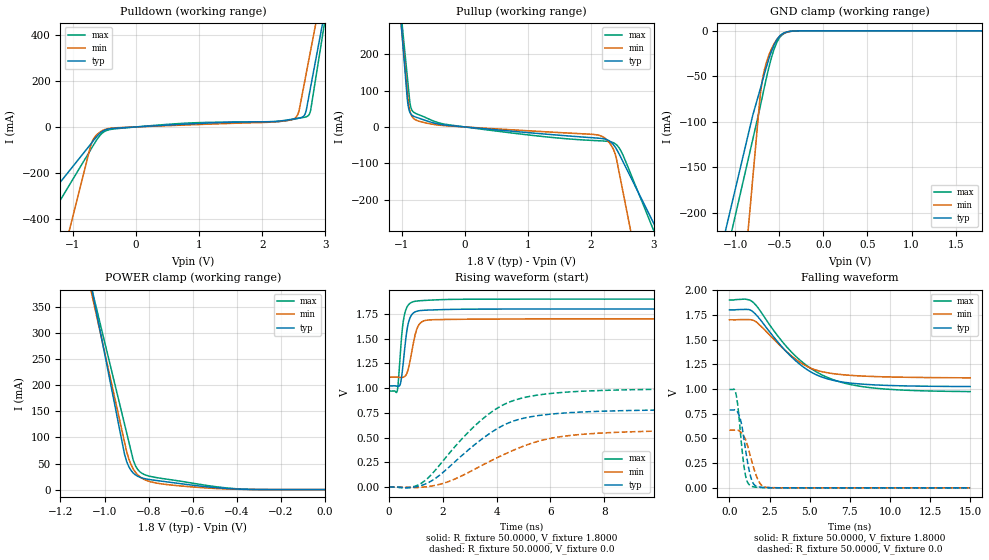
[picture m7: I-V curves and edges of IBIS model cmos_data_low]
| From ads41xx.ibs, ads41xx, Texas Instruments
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|   Model cmos_data_low
[Model]   cmos_data_low
Model_type 3-state
Polarity   Non-Inverting
Enable   Active-High
Vmeas=0.9
C_comp   2.0750pF   1.9000pF   2.2500pF
[Temperature Range]   25.0000   0.1250k   -40.0000
[Voltage Range]   1.8000V   1.7000V   1.9000V
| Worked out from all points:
|   slope of the pulldown table from 0 to 0.27 V, typ, clamps not added: 61.3 ohm
|   slope of the pullup table from 0 to 0.27 V, typ, clamps not added: 62.7 ohm
|   GND clamp passes 1 mA (typ) near -0.40 V on its own axis
|   POWER clamp passes 1 mA (typ) near -0.39 V on its own axis
|   rising waveform, R_fixture 50.0000, V_fixture 1.8000: 20-80 % time 210ps typ, 269ps min, 183ps max; typ from 1.02 V to 1.8 V
|   rising waveform, R_fixture 50.0000, V_fixture 0.0: 20-80 % time 2.24ns typ, 2.83ns min, 2.2ns max; typ from 0 V to 0.786 V
|   falling waveform, R_fixture 50.0000, V_fixture 1.8000: 20-80 % time 2.81ns typ, 2.52ns min, 3.34ns max; typ from 1.8 V to 1.02 V
|   falling waveform, R_fixture 50.0000, V_fixture 0.0: 20-80 % time 484ps typ, 639ps min, 378ps max; typ from 0.787 V to 0 V
[Pulldown]
|Voltage   I(typ)   I(min)   I(max)
-1.8V     -446.2mA   -1.258A    -592.4mA
-720mV    -75.2mA    -81.71mA   -99.24mA
-640mV    -47.05mA   -39.01mA   -62.92mA
-460mV    -10.5mA    -8.223mA   -14.9mA
710mV     11.19mA    7.69mA     15.22mA
2.48V     34.06mA    32.63mA    32.37mA
2.55V     37.27mA    46.71mA    36.28mA
2.58V     38.61mA    65.94mA    37.79mA
2.67V     51.08mA    191.5mA    42.12mA
2.72V     102.4mA    263.3mA    46.79mA
2.77V     175.5mA    335mA      73.69mA
3.6V      1.39A      1.526A     1.509A
[Pullup]
|Voltage   I(typ)   I(min)   I(max)
-1.8V     1.985A     1.8A       1.7A
-910mV    78.41mA    98.35mA    140.6mA
-890mV    53.38mA    64.8mA     105.5mA
-860mV    37.57mA    39.26mA    59.46mA
-780mV    27.41mA    19.76mA    37.54mA
-260mV    4.234mA    2.841mA    6.131mA
2.16V     -31.57mA   -24.52mA   -38.3mA
2.28V     -36.75mA   -39.86mA   -39.94mA
2.38V     -53.19mA   -69.91mA   -45.29mA
2.47V     -80.69mA   -141.1mA   -62.92mA
2.55V     -108.6mA   -211.4mA   -92.55mA
3.6V      -474.3mA   -1.134A    -541.5mA
[GND_clamp]
|Voltage   I(typ)   I(min)   I(max)
-1.8V     -503.4mA   -1.249A    -541.8mA
-800mV    -92.85mA   -162.4mA   -119.5mA
-720mV    -65.72mA   -75.52mA   -85.37mA
-690mV    -55.13mA   -53.43mA   -71.78mA
-670mV    -48.11mA   -43.79mA   -62.73mA
-620mV    -31.66mA   -27.43mA   -41.38mA
-560mV    -15.91mA   -14.53mA   -20.65mA
-520mV    -8.804mA   -8.629mA   -11.32mA
-470mV    -3.672mA   -3.929mA   -4.772mA
-390mV    -710.2uA   -818.1uA   -1.01mA
-280mV    -32.94uA   -54.05uA   -57.7uA
1.8V      5.757nA    95.41nA    1.717nA
[POWER_clamp]
|Voltage   I(typ)   I(min)   I(max)
-1.8V     1.973A     1.793A     1.681A
-1.09V    453.9mA    436.2mA    440.9mA
-1.05V    368.3mA    359.7mA    371.1mA
-910mV    68.83mA    92.21mA    126.6mA
-890mV    43.87mA    58.68mA    91.62mA
-870mV    31.74mA    39.51mA    56.69mA
-860mV    28.17mA    33.2mA     45.72mA
-840mV    23.7mA     24.62mA    34.17mA
-800mV    19.54mA    16.1mA     26.14mA
-490mV    3.546mA    2.034mA    5.283mA
-340mV    343.4uA    193uA      468.4uA
0V        5.757nA    -261.2nA   2.433nA
[Ramp]
| variable   typ   min   max
dV/dt_r  0.4716/2.2361n   0.3478/2.8319n   0.5966/2.2037n
dV/dt_f  0.4652/2.8092n   0.3522/2.5181n   0.5557/3.3377n
R_load = 50.0000
[Rising Waveform]
R_fixture= 50.0000
V_fixture= 1.8000
V_fixture_min= 1.7000
V_fixture_max= 1.9000
|time   V(typ)   V(min)   V(max)
0s        1.023V     1.111V     970.8mV
300ps     1.02V      1.111V     962.9mV
420ps     1.04V      1.109V     1.336V
510ps     1.202V     1.109V     1.628V
600ps     1.435V     1.121V     1.767V
735ps     1.672V     1.212V     1.846V
945ps     1.767V     1.504V     1.877V
1.155ns   1.784V     1.655V     1.884V
1.56ns    1.79V      1.691V     1.89V
14.99ns   1.8V       1.7V       1.9V
[Rising Waveform]
R_fixture= 50.0000
V_fixture= 0.0
V_fixture_min= 0.0
V_fixture_max= 0.0
|time   V(typ)   V(min)   V(max)
0s        782nV      33.56uV    3.016nV
765ps     -5.516mV   -3.046mV   -2.797mV
1.23ns    18.96mV    -1.139mV   44.04mV
2.22ns    199mV      56.51mV    334.5mV
3.465ns   487.5mV    220.6mV    685.4mV
4.2ns     617.6mV    320.2mV    824.6mV
4.965ns   693.8mV    410mV      901.1mV
6.09ns    739.5mV    497.1mV    948.5mV
7.65ns    764.4mV    542.4mV    974.4mV
14.99ns   786.1mV    579.8mV    994.3mV
[Falling Waveform]
R_fixture= 50.0000
V_fixture= 1.8000
V_fixture_min= 1.7000
V_fixture_max= 1.9000
|time   V(typ)   V(min)   V(max)
0s        1.8V       1.7V       1.9V
960ps     1.805V     1.703V     1.909V
1.425ns   1.786V     1.697V     1.883V
1.755ns   1.733V     1.666V     1.825V
3.135ns   1.451V     1.442V     1.51V
4.035ns   1.298V     1.312V     1.345V
5.16ns    1.164V     1.204V     1.198V
6.345ns   1.092V     1.158V     1.101V
9.285ns   1.04V      1.125V     1.005V
14.99ns   1.025V     1.113V     973.8mV
[Falling Waveform]
R_fixture= 50.0000
V_fixture= 0.0
V_fixture_min= 0.0
V_fixture_max= 0.0
|time   V(typ)   V(min)   V(max)
0s        787.3mV    583.9mV    994.8mV
375ps     788.4mV    585mV      969.3mV
510ps     764.7mV    583.9mV    843.4mV
645ps     711.8mV    572.2mV    624.5mV
825ps     576.8mV    541mV      323.5mV
990ps     397.4mV    491.1mV    132.3mV
1.38ns    81.38mV    273.4mV    15.91mV
1.845ns   8.716mV    59.9mV     4.295mV
2.31ns    2.435mV    5.191mV    1.744mV
14.99ns   1.266uV    35.55uV    147.1nV
